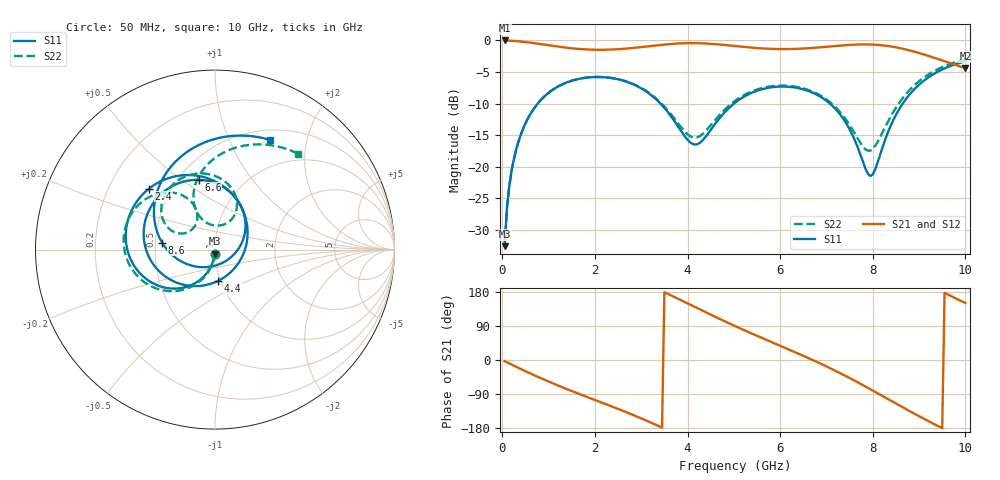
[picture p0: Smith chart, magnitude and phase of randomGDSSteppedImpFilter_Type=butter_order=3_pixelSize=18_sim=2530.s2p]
! freq	dB(S11)	phase(S11)	dB(S12)	phase(S12)
!  dB(S21)	phase(S21)	dB(S22)	phase(S22)
!S-par simulation data
#  GHz  S  DB  R 50
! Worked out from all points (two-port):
!   200 points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, 50 MHz to 10 GHz, reference 50 ohm
!   highest |S21| = -0.01 dB at 50 MHz (marker M1); lowest = -4.4 dB at 10 GHz (marker M2)
!   |S21| within 3 dB of the highest: start of sweep to 9.435 GHz
!   lowest |S11| = -32.6 dB at 50 MHz (marker M3), VSWR 1.05, Z = 49.8 - j2.34 ohm
!   |S11| at or under -10 dB: start of sweep to 765 MHz; 3.416 GHz to 5.003 GHz (1.587 GHz wide, 37.7 % of centre); 7.075 GHz to 8.647 GHz (1.572 GHz wide, 20 % of centre)
!   |S22| runs from -32.6 to -3.0 dB; largest |S21 - S12| = 0
!   S11 on the Smith chart (normalised r, x): 50 MHz: 1.00, -0.05; 2.4 GHz: 0.38, +0.34; 4.4 GHz: 0.98, -0.35; 6.6 GHz: 0.63, +0.58; 8.6 GHz: 0.54, +0.05; 10 GHz: 0.62, +1.43
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0.05  -32.56 -93.2  -0.01 -3.0  -0.01 -3.0  -32.56 -92.9
0.1  -26.57 -96.5  -0.02 -6.1  -0.02 -6.1  -26.57 -96.0
0.2  -20.66 -102.8  -0.06 -12.0  -0.06 -12.0  -20.65 -101.9
0.5  -13.13 -121.1  -0.26 -29.6  -0.26 -29.6  -13.13 -119.0
1.1  -7.75 -155.2  -0.88 -62.1  -0.88 -62.1  -7.75 -150.0
1.75  -5.96 171.1  -1.40 -93.7  -1.40 -93.7  -5.95 -179.5
2.4  -6.01 137.3  -1.43 -124.2  -1.43 -124.2  -5.99 153.7
2.9  -7.19 108.2  -1.14 -148.8  -1.14 -148.8  -7.14 134.3
3.4  -9.88 71.8  -0.73 -175.6  -0.73 -175.6  -9.72 118.5
4.05  -16.09 -13.7  -0.43 146.6  -0.43 146.6  -15.13 128.6
4.4  -15.16 -83.9  -0.49 125.7  -0.49 125.7  -14.27 152.1
5.05  -9.73 -156.0  -0.91 88.2  -0.91 88.2  -9.43 149.6
5.75  -7.49 156.0  -1.32 50.7  -1.32 50.7  -7.32 124.0
6.6  -7.97 103.2  -1.24 5.6  -1.24 5.6  -7.82 88.6
6.7  -8.26 96.7  -1.19 0.1  -1.19 0.1  -8.10 84.4
7.3  -11.76 51.6  -0.82 -34.9  -0.82 -34.9  -11.39 63.0
7.95  -21.46 -64.9  -0.65 -77.2  -0.65 -77.2  -17.44 91.1
8.35  -14.14 -159.8  -0.91 -104.6  -0.91 -104.6  -12.54 115.8
8.6  -10.52 172.5  -1.24 -121.7  -1.24 -121.7  -9.58 111.2
9.25  -5.61 117.7  -2.56 -164.3  -2.56 -164.3  -5.16 83.4
9.65  -4.12 88.2  -3.54 171.0  -3.54 171.0  -3.78 64.7
10  -3.31 63.5  -4.39 150.4  -4.39 150.4  -3.00 49.0
